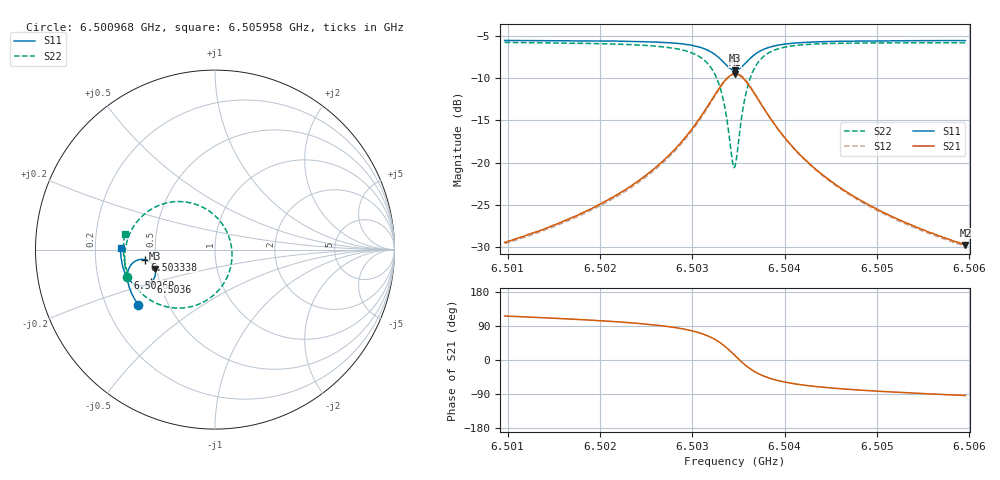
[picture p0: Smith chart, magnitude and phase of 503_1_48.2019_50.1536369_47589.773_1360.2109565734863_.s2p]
#  HZ  S  RI  R  50.00
! Rohde & Schwarz Vector Network Analyzer
! Rohde-Schwarz,ZNB20-2Port,1311601062101988,3.16
! Created: UTC 3/20/2024, 11:58:38 AM
! freq[Hz]  re:S11  im:S11  re:S21  im:S21  re:S12  im:S12  re:S22  im:S22
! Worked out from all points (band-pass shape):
!   401 points, 6.500968 GHz to 6.505958 GHz, reference 50 ohm
!   highest |S21| = -9.52 dB at 6.503463 GHz (marker M1); lowest = -29.7 dB at 6.505958 GHz (marker M2)
!   |S21| within 3 dB of the highest: 6.503214 GHz to 6.503713 GHz (498.7 kHz wide, 0.00767 % of centre)
!   lowest |S11| = -9.1 dB at 6.503463 GHz (marker M3), VSWR 2.08, Z = 24.4 - j5.9 ohm
!   |S11| at or under -10 dB: nowhere
!   |S22| runs from -20.6 to -5.8 dB; largest |S21 - S12| = 0.011
!   S11 on the Smith chart (normalised r, x): 6.500968 GHz: 0.34, -0.29; 6.50269 GHz: 0.33, -0.14; 6.503338 GHz: 0.44, -0.06; 6.5036 GHz: 0.45, -0.19; 6.505958 GHz: 0.31, +0.01
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6.5009681e9  -0.4269 -0.3094  -0.0149 0.0303  -0.0132 0.0305  -0.4899 -0.1538
6.5018039e9  -0.4627 -0.2475  -0.0141 0.0482  -0.0119 0.0477  -0.5028 -0.0647
6.5022779e9  -0.4793 -0.205  -0.011 0.0685  -0.00819 0.0675  -0.4994 0.00328
6.5026397e9  -0.4878 -0.1647  -0.00204 0.0973  0.00135 0.0952  -0.4799 0.0765
6.5026896e9  -0.4883 -0.1581  0.000359 0.1031  0.00387 0.1006  -0.4746 0.0891
6.5029515e9  -0.484 -0.1168  0.0268 0.1444  0.0301 0.1401  -0.42 0.172
6.5031387e9  -0.4625 -0.0785  0.0815 0.1869  0.0836 0.181  -0.3154 0.245
6.5032509e9  -0.4293 -0.0577  0.1513 0.2046  0.1517 0.1989  -0.1896 0.2674
6.5033382e9  -0.3883 -0.056  0.2316 0.1881  0.232 0.1839  -0.0508 0.2265
6.5034256e9  -0.3458 -0.0844  0.3095 0.1151  0.3118 0.1114  0.0733 0.083
6.5034505e9  -0.3377 -0.0983  0.3229 0.0837  0.3261 0.0794  0.0902 0.0238
6.503463e9  -0.3349 -0.1059  0.3273 0.067  0.3308 0.0622  0.0943 -0.00721
6.5034879e9  -0.3319 -0.122  0.3309 0.0328  0.3348 0.0268  0.0924 -0.0696
6.5035254e9  -0.3339 -0.1457  0.324 -0.0168  0.3276 -0.0249  0.0659 -0.1574
6.5036002e9  -0.3557 -0.1823  0.2781 -0.0924  0.2785 -0.1032  -0.042 -0.2792
6.5037125e9  -0.4007 -0.2021  0.1924 -0.1377  0.1876 -0.147  -0.2155 -0.326
6.5038746e9  -0.4476 -0.1927  0.1097 -0.1342  0.1029 -0.1392  -0.3647 -0.2784
6.5040493e9  -0.4754 -0.1713  0.0644 -0.1136  0.0585 -0.116  -0.4378 -0.2127
6.5042988e9  -0.4962 -0.1414  0.0342 -0.0889  0.0297 -0.0895  -0.4814 -0.1399
6.504673e9  -0.5119 -0.1022  0.015 -0.0653  0.0118 -0.065  -0.5041 -0.0645
6.5051346e9  -0.5214 -0.0592  0.00523 -0.0485  0.00284 -0.0479  -0.5102 0.0011
6.5059579e9  -0.5264 0.0107  -0.00207 -0.0325  -0.00338 -0.0319  -0.5025 0.0886
